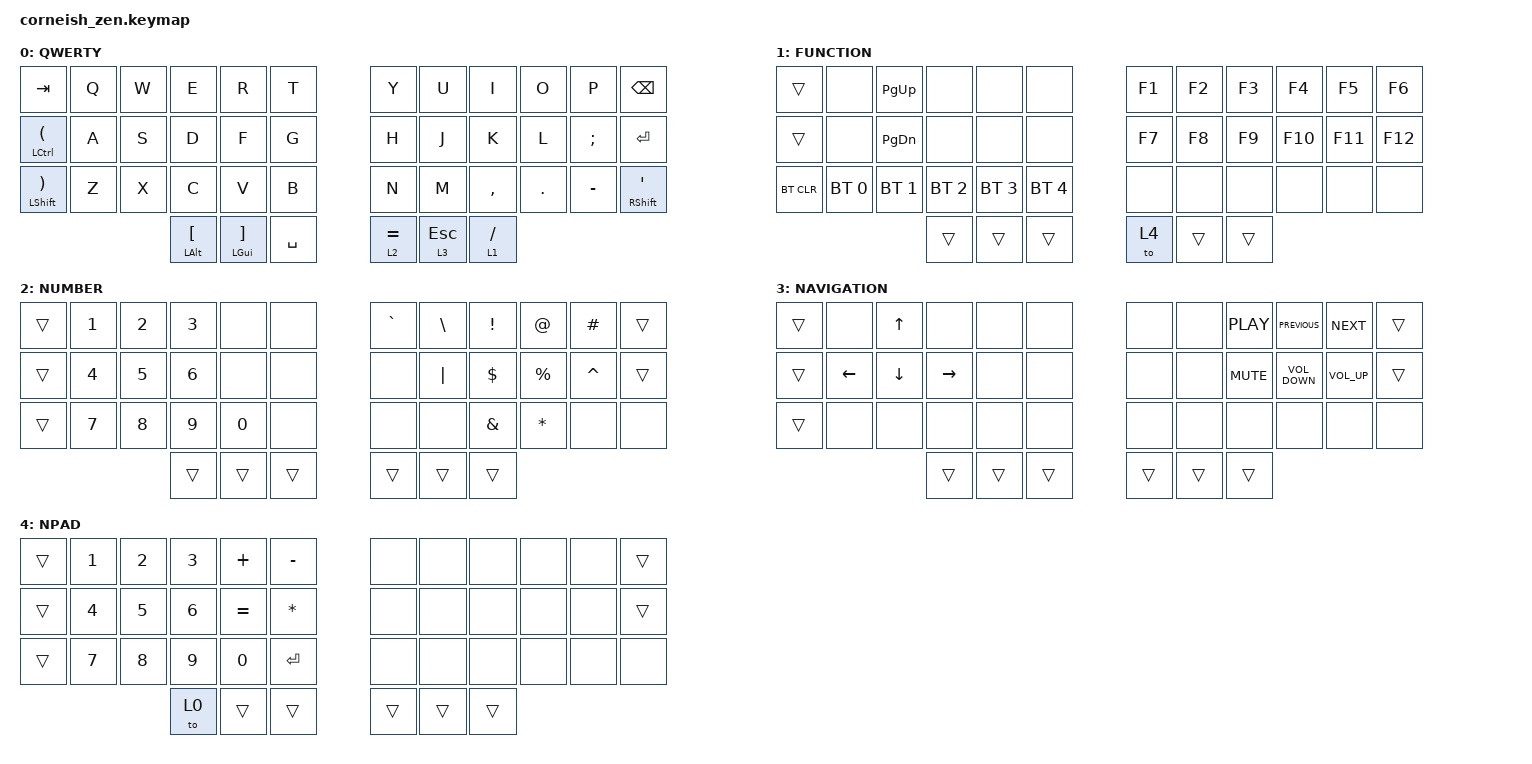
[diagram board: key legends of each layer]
#include <behaviors.dtsi>
#include <dt-bindings/zmk/keys.h>
#include <dt-bindings/zmk/bt.h>

/ {
  chosen {
    zmk,matrix_transform = &default_transform;
    //zmk,matrix_transform = &five_column_transform;
  };
};

/ {
        keymap {
                compatible = "zmk,keymap";

                default_layer {
                        label = "QWERTY";
// -----------------------------------------------------------------------------------------
// |  TAB   |  Q  |  W  |  E  |  R  |  T  |   |  Y  |  U   |  I  |  O  |  P  | BKSP |
// | CTRL (  |  A  |  S  |  D  |  F  |  G  |   |  H  |  J   |  K  |  L  |  ;  | RET  |
// | SHFT ) |  Z  |  X  |  C  |  V  |  B  |   |  N  |  M   |  ,  |  .  |  -  |SHFT '|
//                    | ALT | CMD | SPC |   | = | ESC | ALT |
                        bindings = <
   &kp TAB   &kp Q &kp W &kp E &kp R &kp T   &kp Y &kp U  &kp I     &kp O   &kp P    &kp BSPC
   &mt LCTRL LPAR &kp A &kp S &kp D &kp F &kp G   &kp H &kp J  &kp K     &kp L   &kp SEMI &kp RET
   &mt LSHFT RPAR &kp Z &kp X &kp C &kp V &kp B   &kp N &kp M  &kp COMMA &kp DOT &kp MINUS &mt RSHFT SQT
        &mt LALT LBKT &mt LGUI RBKT &kp SPACE   &lt 2 EQUAL  &lt 3 ESC &lt 1 SLASH
                        >;
                };
                function_layer {
                        label = "FUNCTION";
// -----------------------------------------------------------------------------------------
// |      |     |     |     |     |     |   |     |  F1 |  F2 | F3  | F4  |  F5  |F6
// |      |     |     |     |     |     |   |     |  F7 |  F8 | F9  | F10 |  F11 |F12
// | BTCLR| BT1 | BT2 | BT3 | BT4 | BT5 |   |     |     |     |     |     |      |
//                    |     |     |     |   | L4  |     |     |
                        bindings = <
   &trans   &none &kp PG_UP    &none &none &none &kp F1   &kp F2   &kp F3 &kp F4    &kp F5  &kp F6
   &trans   &none &kp PG_DN  &none &none &none &kp F7   &kp F8   &kp F9 &kp F10   &kp F11 &kp F12
   &bt BT_CLR &bt BT_SEL 0 &bt BT_SEL 1 &bt BT_SEL 2 &bt BT_SEL 3 &bt BT_SEL 4 &none &none &none &none &none &none 
                    &trans     &trans       &trans       &to 4  &trans   &trans
                        >;
                };

                number_layer {
                        label = "NUMBER";
// -----------------------------------------------------------------------------------------
// |      |  1  |  2  |  3  |     |     |   |  `  |  \  |  !  |  @  |  #  |      |
// |      |  4  |  5  |  6  |     |     |   |     | "|" |  $  |  %  |  ^  |      |
// |      |  7  |  8  |  9  |  0  |     |   |     |     |  &  |  *  |     |      |
//                    |     |     |     |   |     |     |     |
                        bindings = <
   &trans  &kp N1  &kp N2 &kp N3 &none &none &kp GRAVE &kp BSLH &kp EXCL &kp AT    &kp HASH  &trans
   &trans  &kp N4  &kp N5 &kp N6 &none &none &none &kp PIPE &kp DLLR &kp PRCNT &kp CARET &trans
   &trans  &kp N7  &kp N8 &kp N9 &kp N0   &none &none &none &kp AMPS &kp STAR  &none &none 
                    	 &trans   &trans   &trans      &trans   &trans    &trans
                        >;
                };
                navigation_layer {
                        label = "NAVIGATION";
// -----------------------------------------------------------------------------------------
// |      |     |  UP |     |     |     |   |     |     |     |     |     |      |
// |      | LEFT|DOWN |RIGHT|     |     |   |     |     |     |     |     |      |
// |      |     |     |     |     |     |   |     |     |     |     |     |      |
//                    |     |     |     |   |     |     |     |
                        bindings = <
   &trans  &none &kp UP   &none &none &none &none &none &kp C_PLAY  &kp C_PREVIOUS &kp C_NEXT &trans
   &trans  &kp LEFT &kp DOWN &kp RIGHT &none &none &none &none &kp C_MUTE &kp C_VOLUME_DOWN &kp C_VOLUME_UP &trans
   &trans  &none  &none  &none     &none &none &none &none &none &none &none &none
                    	 &trans   &trans   &trans      &trans   &trans    &trans
                        >;
                };
                numpad_layer {
                        label = "NPAD";
// -----------------------------------------------------------------------------------------
// |      |  1  |  2  |  3  |  +  |  -  |   |     |     |     |     |     |      |
// |      |  4  |  5  |  6  |  =  |  *  |   |     |     |     |     |     |      |
// |      |  7  |  8  |  9  |  0  | RET |   |     |     |     |     |     |      |
//                    |     |     |     |   |     |     |     |
                        bindings = <
   &trans  &kp N1  &kp N2 &kp N3 &kp PLUS &kp MINUS &none &none &none &none &none &trans
   &trans  &kp N4  &kp N5 &kp N6 &kp EQUAL &kp STAR &none &none &none &none &none &trans
   &trans  &kp N7  &kp N8 &kp N9 &kp N0   &kp RET &none &none &none &none &none &none 
                    	 &to 0  &trans   &trans      &trans   &trans    &trans
                        >;
                };

        };
};
